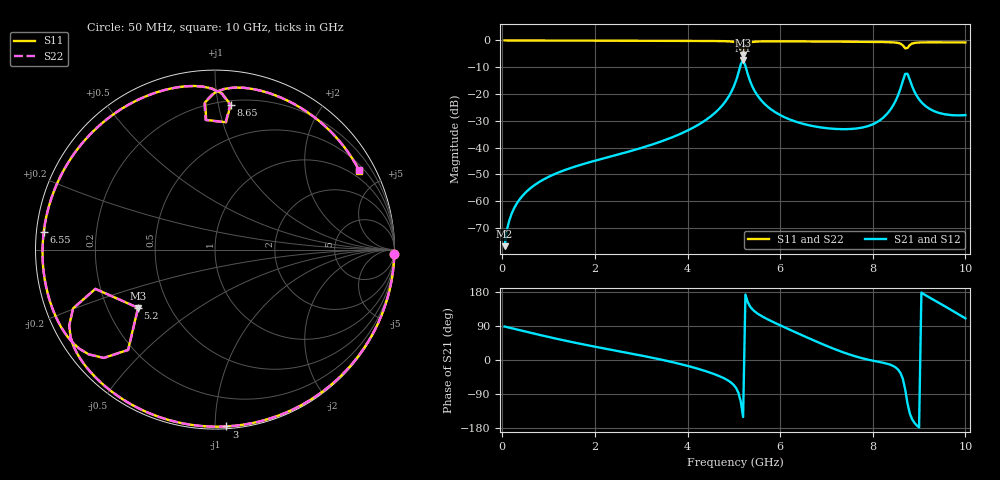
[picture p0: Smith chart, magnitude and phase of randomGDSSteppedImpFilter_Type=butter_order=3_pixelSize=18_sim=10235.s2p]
! freq	dB(S11)	phase(S11)	dB(S12)	phase(S12)
!  dB(S21)	phase(S21)	dB(S22)	phase(S22)
!S-par simulation data
#  GHz  S  DB  R 50
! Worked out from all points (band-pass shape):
!   200 points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, 50 MHz to 10 GHz, reference 50 ohm
!   highest |S21| = -7.31 dB at 5.2 GHz (marker M1); lowest = -76.8 dB at 50 MHz (marker M2)
!   |S21| within 3 dB of the highest: 5.128 GHz to 5.263 GHz (135.7 MHz wide, 2.61 % of centre)
!   lowest |S11| = -5.4 dB at 5.2 GHz (marker M3), VSWR 3.33, Z = 16.5 - j15.1 ohm
!   |S11| at or under -10 dB: nowhere
!   |S22| runs from -5.4 to 0.0 dB; largest |S21 - S12| = 0
!   S11 on the Smith chart (normalised r, x): 50 MHz: 1, -76; 3 GHz: 0.01, -1.07; 5.2 GHz: 0.33, -0.30; 6.55 GHz: 0.02, +0.05; 8.65 GHz: 0.23, +1.09; 10 GHz: 0.69, +3.80
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0.05  -0.00 -1.5  -76.75 88.3  -76.75 88.3  -0.00 -1.5
0.2  -0.01 -6.0  -64.71 83.9  -64.71 83.9  -0.01 -6.0
0.5  -0.02 -14.8  -56.80 75.1  -56.80 75.1  -0.02 -14.8
1.75  -0.06 -51.2  -46.11 41.2  -46.11 41.2  -0.06 -51.2
3  -0.11 -86.3  -40.11 11.8  -40.11 11.8  -0.11 -86.3
3.4  -0.13 -97.4  -37.87 1.8  -37.87 1.8  -0.13 -97.4
4.5  -0.20 -129.0  -28.35 -33.9  -28.35 -33.9  -0.20 -129.0
4.85  -0.30 -141.1  -21.98 -52.3  -21.98 -52.3  -0.30 -141.1
5.05  -0.77 -152.5  -14.89 -74.3  -14.89 -74.3  -0.77 -152.5
5.15  -3.08 -161.8  -8.87 -110.2  -8.87 -110.2  -3.08 -161.8
5.2  -5.39 -142.9  -7.31 -150.5  -7.31 -150.5  -5.40 -142.8
5.3  -1.26 -135.8  -12.56 152.6  -12.56 152.6  -1.26 -135.7
5.65  -0.34 -155.3  -23.43 112.5  -23.43 112.5  -0.34 -155.3
6.55  -0.36 174.2  -31.35 61.2  -31.35 61.2  -0.36 174.2
6.7  -0.38 169.0  -31.93 53.1  -31.93 53.1  -0.38 169.1
7.75  -0.50 129.6  -32.58 5.3  -32.58 5.3  -0.50 129.8
8.35  -0.65 102.6  -26.53 -11.3  -26.53 -11.3  -0.65 102.8
8.65  -1.82 83.8  -15.02 -50.2  -15.02 -50.2  -1.82 84.0
8.75  -2.80 93.9  -12.43 -114.6  -12.43 -114.6  -2.81 94.1
8.95  -0.82 82.9  -20.67 -172.5  -20.67 -172.5  -0.82 83.2
9.25  -0.70 66.1  -25.74 163.1  -25.74 163.1  -0.69 66.4
10  -0.75 28.6  -27.86 109.9  -27.86 109.9  -0.75 28.9
